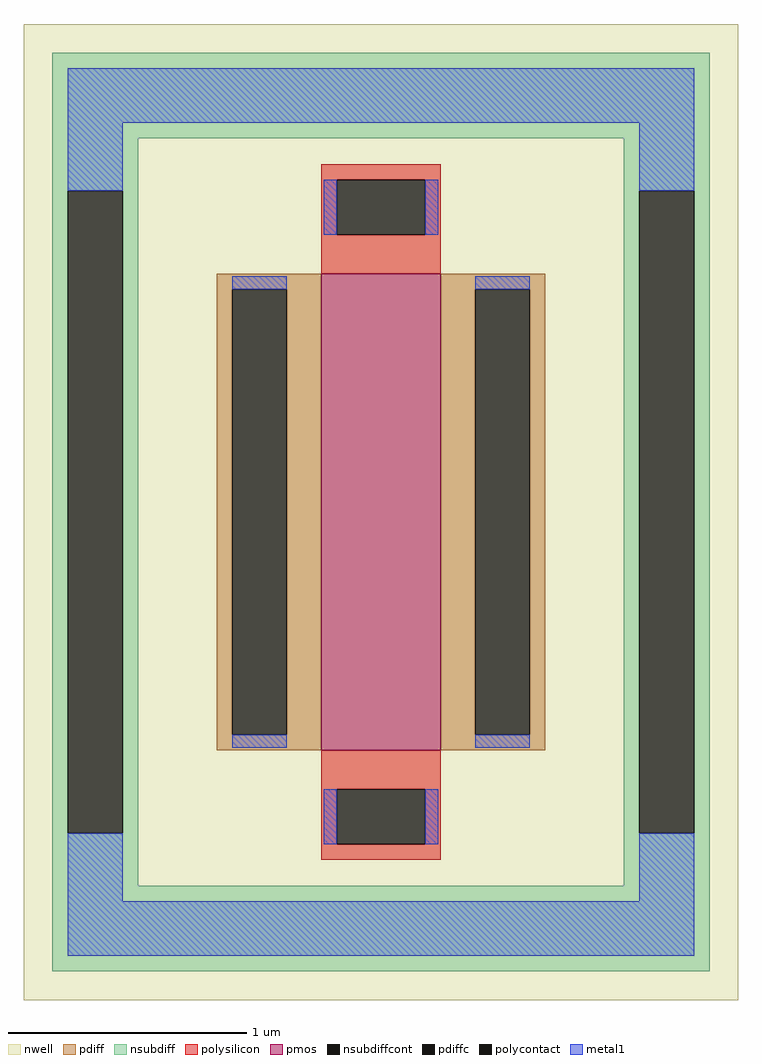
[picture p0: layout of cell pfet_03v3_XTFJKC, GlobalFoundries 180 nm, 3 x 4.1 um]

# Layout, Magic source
magic
tech gf180mcuD
magscale 1 10
<< nwell >>
rect -300 -410 300 410
<< pmos >>
rect -50 -200 50 200
<< pdiff >>
rect -138 187 -50 200
rect -138 -187 -125 187
rect -79 -187 -50 187
rect -138 -200 -50 -187
rect 50 187 138 200
rect 50 -187 79 187
rect 125 -187 138 187
rect 50 -200 138 -187
<< pdiffc >>
rect -125 -187 -79 187
rect 79 -187 125 187
<< nsubdiff >>
rect -276 314 276 386
rect -276 270 -204 314
rect -276 -270 -263 270
rect -217 -270 -204 270
rect 204 270 276 314
rect -276 -314 -204 -270
rect 204 -270 217 270
rect 263 -270 276 270
rect 204 -314 276 -270
rect -276 -386 276 -314
<< nsubdiffcont >>
rect -263 -270 -217 270
rect 217 -270 263 270
<< polysilicon >>
rect -50 279 50 292
rect -50 233 -37 279
rect 37 233 50 279
rect -50 200 50 233
rect -50 -233 50 -200
rect -50 -279 -37 -233
rect 37 -279 50 -233
rect -50 -292 50 -279
<< polycontact >>
rect -37 233 37 279
rect -37 -279 37 -233
<< metal1 >>
rect -263 327 263 373
rect -263 270 -217 327
rect -48 233 -37 279
rect 37 233 48 279
rect 217 270 263 327
rect -125 187 -79 198
rect -125 -198 -79 -187
rect 79 187 125 198
rect 79 -198 125 -187
rect -263 -327 -217 -270
rect -48 -279 -37 -233
rect 37 -279 48 -233
rect 217 -327 263 -270
rect -263 -373 263 -327
<< properties >>
string FIXED_BBOX -240 -350 240 350
string gencell pfet_03v3
string library gf180mcu
string parameters w 2.0 l 0.5 m 1 nf 1 diffcov 100 polycov 100 guard 1 glc 1 grc 1 gtc 0 gbc 0 tbcov 100 rlcov 100 topc 1 botc 1 poverlap 0 doverlap 1 lmin 0.28 wmin 0.22 class mosfet full_metal 1 compatible {pfet_03v3 pfet_05v0 pfet_06v0} ad int((nf+1)/2)*W/nf*0.18u as int((nf+2)/2)*W/nf*0.18u pd 2*int((nf+1)/2)*(W/nf+0.18u) ps 2*int((nf+2)/2)*(W/nf+0.18u) nrd 0.18u/W nrs 0.18u/W sa 0 sb 0 sd 0
<< end >>
